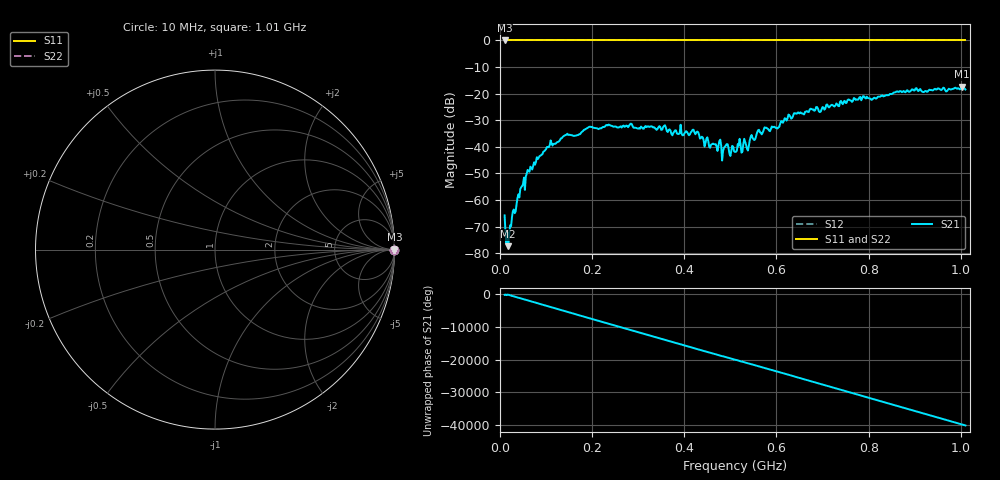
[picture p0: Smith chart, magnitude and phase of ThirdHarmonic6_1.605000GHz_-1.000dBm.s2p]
! 8/16/2025 7:08:47 PM
! C:\ANRITSUVNA\TEMP\TEMP.S2P
! CHANNEL.1
! TR.MEASUREMENT
! RAW.DATA
! RF.CORRECTION.OFF
! AVERAGING.OFF
! IF.BANDWIDTH: 5KHZ
! SWEEPTYPE:  FREQ.SWEEP(Linear)
! Reference Plane Port Info
! PORT:  PORT1  PORT2
! DISTANCE:  0  m  0  m
! TIME:  0  s  0  s
! PHASE.OFFSET:  0  deg.  0  deg.
! LOSS:  0  dB  0  dB
! REF.LOSS:  0  dB  0  dB
! REF.FREQ:  0  Hz  0  Hz
! Power Info
! POWER:  -20  dBm  -20  dBm
! EFF.POWER:  -20  dBm  -20  dBm
! SOURCE.ATTEN:  0  dB  0  dB
! TEST.ATTEN:  0  dB  0  dB
# GHZ S RI R 50.0
! FREQ.GHZ  S11RE  S11IM  S21RE  S21IM  S12RE  S12IM  S22RE  S22IM
!; PortSelection: Port_12
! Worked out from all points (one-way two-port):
!   501 points, 10 MHz to 1.01 GHz, reference 50 ohm
!   highest |S21| = -17.37 dB at 1.002 GHz (marker M1); lowest = -77.3 dB at 18 MHz (marker M2)
!   lowest |S11| = 0.0 dB at 10 MHz (marker M3)
!   |S11| at or under -10 dB: nowhere
!   |S22| runs from 0.0 to 0.0 dB; largest |S21 - S12| = 1.1
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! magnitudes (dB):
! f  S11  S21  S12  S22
! 10 MHz  0.0  -65.8  0.0  0.0
! 16 MHz  0.0  -72.0  0.0  0.0
! 18 MHz  0.0  -77.3  0.0  0.0
! 26 MHz  0.0  -66.4  0.0  0.0
! 42 MHz  0.0  -59.0  0.0  0.0
! 62 MHz  0.0  -49.2  0.0  0.0
! 108 MHz  0.0  -39.3  0.0  0.0
! 178 MHz  0.0  -34.3  0.0  0.0
! 234 MHz  0.0  -32.0  0.0  0.0
! 344 MHz  0.0  -32.6  0.0  0.0
! 418 MHz  0.0  -33.6  0.0  0.0
! 458 MHz  0.0  -39.2  0.0  0.0
! 510 MHz  0.0  -41.9  0.0  0.0
! 518 MHz  0.0  -39.6  0.0  0.0
! 538 MHz  0.0  -41.4  0.0  0.0
! 562 MHz  0.0  -33.6  0.0  0.0
! 602 MHz  0.0  -33.1  0.0  0.0
! 624 MHz  0.0  -29.3  0.0  0.0
! 678 MHz  0.0  -26.0  0.0  0.0
! 844 MHz  0.0  -20.5  0.0  0.0
! 1.002 GHz  0.0  -17.4  0.0  0.0
! 1.01 GHz  0.0  -18.4  0.0  0.0
